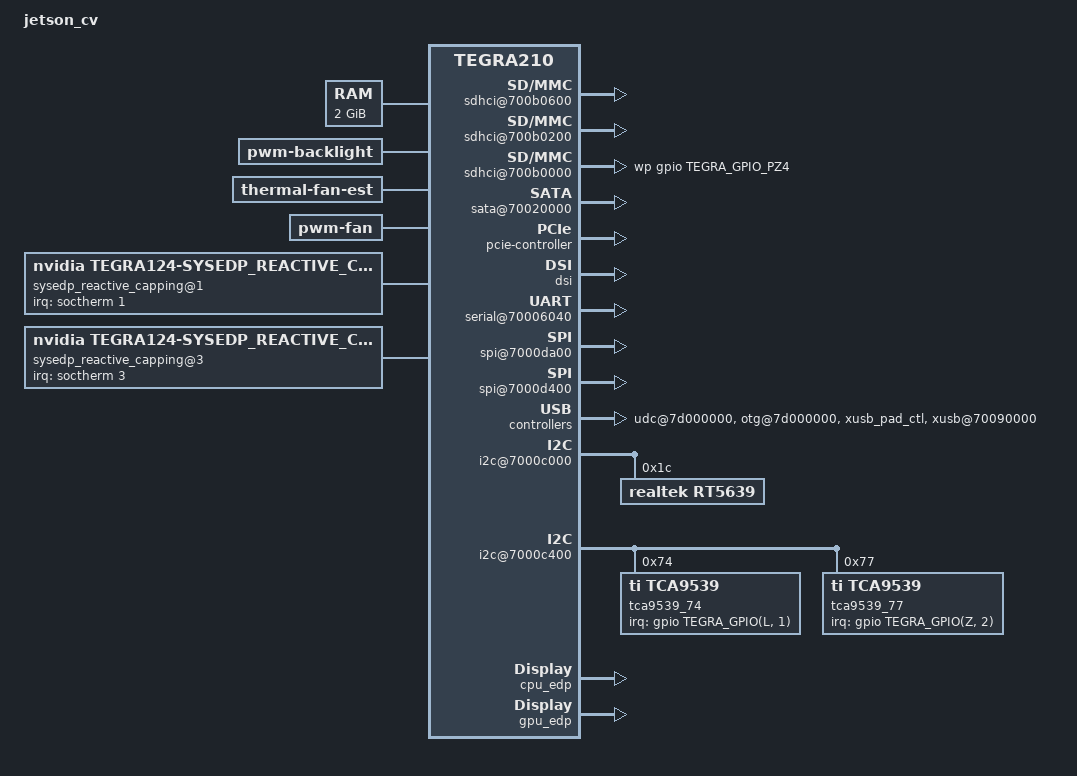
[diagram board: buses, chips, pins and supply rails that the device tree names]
/*
 * arch/arm64/boot/dts/tegra210-jetson-cv-base-p2597-2180-a00.dts
 *
 * Copyright (c) 2015, NVIDIA CORPORATION.  All rights reserved.
 *
 * This program is free software; you can redistribute it and/or modify
 * it under the terms of the GNU General Public License as published by
 * the Free Software Foundation; version 2 of the License.
 *
 * This program is distributed in the hope that it will be useful, but WITHOUT
 * ANY WARRANTY; without even the implied warranty of MERCHANTABILITY or
 * FITNESS FOR A PARTICULAR PURPOSE.  See the GNU General Public License for
 * more details.
 *
 */

/dts-v1/;

/memreserve/ 0x80000000 0x00020000;

#include "tegra210-common.dtsi"
#include "tegra210-platforms/tegra210-jetson-cv-power-tree-p2597-2180-a00.dtsi"
#include "tegra210-platforms/tegra210-jetson-cv-pinmux-p2597-2180-a00.dtsi"
#include "tegra210-platforms/tegra210-jetson-cv-sdmmc-drv-p2597-2180-a00.dtsi"
#include "tegra210-platforms/tegra210-comms-p2530-0930.dtsi"
#include "tegra210-platforms/tegra210-pwm-fan-p2530-0930.dtsi"
#include "panel-a-wuxga-8-0.dtsi"
#include "tegra210-platforms/tegra210-ers-hdmi-e2190-1100-a00.dtsi"
#include "tegra210-platforms/tegra210-sdhci.dtsi"
#include "tegra210-platforms/tegra210-p2530-common.dtsi"
#include "tegra210-platforms/tegra210-thermal-fan-est-p2530-0930.dtsi"
#include "tegra210-platforms/tegra210-jetson-cv-keys-p2597-2180-a00.dtsi"
#include <dt-bindings/iio/meter/ina3221x.h>
#include "tegra210-platforms/tegra210-foster-e-extcon-p2530-0930-e01.dtsi"
#include "tegra210-platforms/tegra210-jetson-cv-emc-p2180-1000-a00.dtsi"
#include "tegra210-platforms/tegra210-edp.dtsi"
#include "tegra210-platforms/tegra210-sysedp.dtsi"
#include "tegra210-platforms/tegra210-thermal-nct72-p2530.dtsi"
#include "tegra210-platforms/tegra210-thermal-Tboard-Tdiode.dtsi"
#include "tegra210-platforms/tegra210-jetson-cv-powermon-p2180-1000-a00.dtsi"


/ {
	model = "jetson_cv";
	compatible = "nvidia,jetson-cv", "nvidia,tegra210";
	nvidia,dtsfilename = __FILE__;

	nvidia,boardids = "2597:2180:A0";
	nvidia,proc-boardid = "2597:2180:A0";
	nvidia,pmu-boardid = "2597:2180:A0";
	#address-cells = <2>;
	#size-cells = <2>;

	chosen {
	};

	pmc@7000e400 {
		nvidia,invert-interrupt;
		platform-io-pad-voltage = <
				TEGRA210_PAD_AUDIO_HV IO_PAD_VOLTAGE_1_8V
				TEGRA210_PAD_SPI_HV IO_PAD_VOLTAGE_1_8V>;
	};

	memory@80000000 {
		device_type = "memory";
		reg = < 0x0 0x80000000 0x0 0x80000000 >;
	};

	sdhci@700b0600 { /* SDMMC4 for EMMC */
		uhs-mask = <0x0>;
		built-in;
		power-off-rail;
		status = "okay";
	};

	sdhci@700b0200 { /* SDMMC2 for Wifi */
		uhs-mask = <0x8>;
		power-off-rail;
		status = "okay";
	};

	sdhci@700b0000 { /* SDMMC1 for SD card */
		uhs-mask = <0xc>;
		power-off-rail;
		nvidia,update-pinctrl-settings;
		pinctrl-names = "sdmmc_schmitt_enable", "sdmmc_schmitt_disable", "sdmmc_clk_schmitt_enable", "sdmmc_clk_schmitt_disable", "sdmmc_drv_code", "sdmmc_default_drv_code";
		pinctrl-0 = <&sdmmc1_schmitt_enable_state>;
		pinctrl-1 = <&sdmmc1_schmitt_disable_state>;
		pinctrl-2 = <&sdmmc1_clk_schmitt_enable_state>;
		pinctrl-3 = <&sdmmc1_clk_schmitt_disable_state>;
		pinctrl-4 = <&sdmmc1_drv_code_1_8V>;
		pinctrl-5 = <&sdmmc1_default_drv_code_3_3V>;
		nvidia,sd-device;
		wp-gpios = <&gpio TEGRA_GPIO_PZ4 0>;
		status = "okay";
	};

	adma@702e2000  {
		interrupts = <0 24 0x04
			      0 25 0x04
			      0 26 0x04
			      0 27 0x04
			      0 28 0x04
			      0 29 0x04
			      0 30 0x04
			      0 31 0x04
			      0 32 0x04
			      0 33 0x04>;
		dma-channels = <10>;
		status = "okay";
	};

	sata@70020000 {
		compatible = "nvidia,tegra210-ahci-sata";
		nvidia,enable-sata-port;
		status = "okay";
	};

	backlight {
		compatible = "pwm-backlight";
		status = "okay";
		panel-s-wqxga-10-1-bl {
			pwms = <&tegra_pwm 0 1000000>;
		};
		panel-a-wuxga-8-0-bl {
			pwms = <&tegra_pwm 0 40161>;
		};
	};

	pcie-controller {
		nvidia,wake-gpio = <&gpio TEGRA_GPIO(A, 2) 0>;
		nvidia,lane-map = <0x14>;
		dvdd-pex-pll-supply = <&max77620_ldo1>;
		l0-dvddio-pex-supply = <&max77620_ldo1>;
		l1-dvddio-pex-supply = <&max77620_ldo1>;
		l2-dvddio-pex-supply = <&max77620_ldo1>;
		l3-dvddio-pex-supply = <&max77620_ldo1>;
		l4-dvddio-pex-supply = <&max77620_ldo1>;
		l5-dvddio-pex-supply = <&max77620_ldo1>;
		l6-dvddio-pex-supply = <&max77620_ldo1>;
		hvdd-pex-pll-e-supply = <&max77620_sd3>;
		l0-hvddio-pex-supply = <&max77620_sd3>;
		l1-hvddio-pex-supply = <&max77620_sd3>;
		l2-hvddio-pex-supply = <&max77620_sd3>;
		l3-hvddio-pex-supply = <&max77620_sd3>;
		l4-hvddio-pex-supply = <&max77620_sd3>;
		l5-hvddio-pex-supply = <&max77620_sd3>;
		l6-hvddio-pex-supply = <&max77620_sd3>;
		vddio-pex-ctl-supply = <&max77620_sd3>;
		status = "okay";

		pci@1,0 {
			status = "okay";
		};

		pci@2,0 {
			status = "okay";
		};
	};

	host1x {
		/* tegradc.0 */
		dc@54200000 {
			status = "okay";
			nvidia,dc-flags = <TEGRA_DC_FLAG_ENABLED>;
			nvidia,emc-clk-rate = <300000000>;
			nvidia,fb-bpp = <32>; /* bits per pixel */
			nvidia,fb-flags = <TEGRA_FB_FLIP_ON_PROBE>;
		};

		/* tegradc.1 */
		dc@54240000 {
			status = "okay";
			nvidia,dc-flags = <TEGRA_DC_FLAG_ENABLED>;
			nvidia,emc-clk-rate = <300000000>;
			nvidia,cmu-enable = <1>;
			nvidia,fb-bpp = <32>; /* bits per pixel */
			nvidia,fb-flags = <TEGRA_FB_FLIP_ON_PROBE>;
		};

		dsi {
			nvidia,dsi-controller-vs = <DSI_VS_1>;
			status = "okay";
			panel-a-wuxga-8-0 {
				status = "okay";
				nvidia,dsi-dpd-pads = <DSIC_DPD_EN DSID_DPD_EN>;
				nvidia,panel-rst-gpio = <&gpio TEGRA_GPIO(V, 2) 0>; /* PV2 */
				nvidia,panel-bl-pwm-gpio = <&gpio TEGRA_GPIO(V, 0) 0>; /* PV0 */
				disp-default-out {
					nvidia,out-flags = <TEGRA_DC_OUT_CONTINUOUS_MODE TEGRA_DC_OUT_INITIALIZED_MODE>;
				};
			};
		};
	};

	serial@70006040 {
		status = "okay";
	};

	spi@7000da00 {
		status = "ok";
	};

	spi@7000d400 {
		status = "okay";
	};

	extcon {
		extcon@0 {
			status = "disabled";
		};
	};

	udc@7d000000 {
		nvidia,port-otg;
		nvidia,charging-supported;
		#extcon-cells = <1>;
		status = "okay";
	};

	otg@7d000000 {
		#extcon-cells = <1>;
		status = "okay";
	};

	xusb_pad_ctl: padctl@0 { /* Put common control config here */
		nvidia,ss_portmap = <0x21>;
		nvidia,lane_owner = <0xff56>; /* Use 0xF to disable lane assign */
		status = "okay";
	};

	xusb@70090000 {
		/* nvidia,uses_external_pmic;
		/* nvidia,gpio_controls_muxed_ss_lanes; */
		nvidia,gpio_ss1_sata = <0>;
		nvidia,ulpicap = <0>; /* No ulpi support. can we remove */
		nvidia,portmap = <0x0e03>;
		nvidia,common_padctl = <&xusb_pad_ctl>;
		nvidia,boost_cpu_frequency = <1600>;
		status = "okay";
	};

	xudc@700d0000 {
		nvidia,common_padctl = <&xusb_pad_ctl>;
		nvidia,portmap = <0x0108>;
		#extcon-cells = <1>;
		status = "disabled";
	};

	xotg {
		#extcon-cells = <1>;
		nvidia,common_padctl = <&xusb_pad_ctl>;
		status = "disabled";
	};

	gpu-dvfs-rework {
		status = "ok";
	};

	thermal-fan-est {
		compatible = "thermal-fan-est";
		active_trip_temps = <0 51000 61000 71000 82000
				140000 150000 160000 170000 180000>;
		active_hysteresis = <0 15000 9000 9000 10000
				0 0 0 0 0>;
	};

	pwm-fan {
		compatible = "pwm-fan";
		shared_data = <&pwm_fan_shared_data>;
		active_pwm = <0 80 120 160 255 255 255 255 255 255>;
	};

	pwm_fan_shared_data: pfsd {
		tach_gpio =  <TEGRA_GPIO(K, 7)>; /* TEGRA_GPIO_PK7 */
	};

	i2c@7000c000 {
		rt5639: rt5639.0-001c@1c {
			compatible = "realtek,rt5639";
			reg = <0x1c>;
		};
	};

	i2c@7000c400 {
		nvidia,clock-always-on;

		tca9539_74: tca9539@74 {
			compatible = "ti,tca9539";
			gpio-controller;
			#gpio-cells = <2>;
			reg = <0x74>;
			interrupt-parent = <&gpio>;
			interrupts = <TEGRA_GPIO(L, 1) 0x0>;
			#interrupt-cells = <2>;
			interrupt-controller;
		};

		tca9539_77: tca9539@77 {
			compatible = "ti,tca9539";
			gpio-controller;
			#gpio-cells = <2>;
			reg = <0x77>;
			interrupt-parent = <&gpio>;
			interrupts = <TEGRA_GPIO(Z, 2) 0x0>;
			#interrupt-cells = <2>;
			interrupt-controller;
		};
	};

	i2c@546c0000 {
		bus-pullup-supply = <&max77620_sd3>;
		avdd_dsi_csi-supply = <&max77620_sd3>;
	};

	sysedp {
		compatible = "nvidia,tegra124-sysedp";
		nvidia,margin = <0>;
		nvidia,min_budget = <0>;
		nvidia,initial_budget = <40000>;
	};

	sysedp_reactive_capping@1 {
		compatible = "nvidia,tegra124-sysedp_reactive_capping";
		nvidia,max_capping_mw = <15000>;
		nvidia,step_alarm_mw = <1000>;
		nvidia,step_relax_mw = <500>;
		nvidia,relax_ms = <250>;
		interrupt-parent = <&soctherm>;
		interrupts = <1 0x2002>;
		sysedpc {
			nvidia,name = "voltmon_oc1";
		};
	};

	sysedp_reactive_capping@3 {
		compatible = "nvidia,tegra124-sysedp_reactive_capping";
		nvidia,max_capping_mw = <15000>;
		nvidia,step_alarm_mw = <1000>;
		nvidia,step_relax_mw = <500>;
		nvidia,relax_ms = <250>;
		interrupt-parent = <&soctherm>;
		interrupts = <3 0x2002>;
		sysedpc {
			nvidia,name = "batmon_oc3";
		};
	};

	sysedp-dynamic-capping {
		compatible = "nvidia,tegra124-sysedp-dynamic-capping";
		nvidia,throttle_depth = <75>;
		nvidia,cap_method = <1>;
	};

	bcmdhd_wlan {
		edp-consumer-name = "primary-wifi";
	};

	cpu_edp {
		status = "okay";
		nvidia,edp_limit = <25000>;
	};

	gpu_edp {
		status = "okay";
		nvidia,edp_limit = <25000>;
	};

	modem {
		/* using XHCI UTMI */
		nvidia,phy-type = <2>;
	};

	soctherm@0x700E2000 {
		throttle@oc1 {
			device_type = "throttlectl";
			oc-alarm-id = <1>;
			priority = <50>;
			mode = "brief";
			intr;
			active_low;
			count_threshold = <100>;
			filter = <5100000>;
			throttle_dev = <&{/soctherm@0x700E2000/throttle_dev@cpu_medium}
					&{/soctherm@0x700E2000/throttle_dev@gpu_medium}>;
		};
		throttle@oc3 {
			device_type = "throttlectl";
			oc-alarm-id = <3>;
			priority = <50>;
			mode = "brief";
			intr;
			active_low;
			count_threshold = <15>;
			filter = <5100000>;
			throttle_dev = <&{/soctherm@0x700E2000/throttle_dev@cpu_medium}
					&{/soctherm@0x700E2000/throttle_dev@gpu_medium}>;
		};
		throttle_dev@cpu_medium {
			dividend = <63>;
			divisor = <255>;
			duration = <0>;
			step = <0>;
		};
		throttle_dev@gpu_medium {
			level = "medium_throttling";
		};
	};

	thermal-zones {
		CPU-therm {
			thermal-zone-params {
				governor-name = "pid_thermal_gov";
				max_err_temp = <9000>;
				max_err_gain = <1000>;
				gain_p = <1000>;
				gain_d = <0>;
				up_compensation = <20>;
				down_compensation = <20>;
			};
			trips {
				cpu_critical {
					temperature = <102500>;
					hysteresis = <0>;
					type = "critical";
					writable;
				};
				cpu_heavy {
					temperature = <98500>;
					hysteresis = <0>;
					type = "hot";
					writable;
				};
				cpu_throttle {
					temperature = <89000>;
					hysteresis = <0>;
					type = "passive";
					writable;
				};
			};
			cooling-maps {
				map0 {
					trip = <&{/thermal-zones/CPU-therm/trips/cpu_critical}>;
					cdev-type = "tegra-shutdown";
					cooling-device = <&{/soctherm@0x700E2000/throttle@critical}
						THERMAL_NO_LIMIT THERMAL_NO_LIMIT>;
				};
				map1 {
					trip = <&{/thermal-zones/CPU-therm/trips/cpu_heavy}>;
					cdev-type = "tegra-heavy";
					cooling-device = <&{/soctherm@0x700E2000/throttle@heavy}
						THERMAL_NO_LIMIT THERMAL_NO_LIMIT>;
				};
				map2 {
					trip = <&{/thermal-zones/CPU-therm/trips/cpu_throttle}>;
					cdev-type = "cpu-balanced";
					cooling-device = <&{/bthrot_cdev/cpu_balanced}
						THERMAL_NO_LIMIT THERMAL_NO_LIMIT>;
				};
			};
		};
		GPU-therm {
			thermal-zone-params {
				governor-name = "pid_thermal_gov";
				max_err_temp = <9000>;
				max_err_gain = <1000>;
				gain_p = <1000>;
				gain_d = <0>;
				up_compensation = <20>;
				down_compensation = <20>;
			};
			trips {
				gpu_critical {
					temperature = <103000>;
					hysteresis = <0>;
					type = "critical";
					writable;
				};
				gpu_heavy {
					temperature = <100000>;
					hysteresis = <0>;
					type = "hot";
					writable;
				};
				gpu_throttle {
					temperature = <90500>;
					hysteresis = <0>;
					type = "passive";
					writable;
				};
			};
			cooling-maps {
				map0 {
					trip = <&{/thermal-zones/GPU-therm/trips/gpu_critical}>;
					cdev-type = "tegra-shutdown";
					cooling-device = <&{/soctherm@0x700E2000/throttle@critical}
						THERMAL_NO_LIMIT THERMAL_NO_LIMIT>;
				};
				map1 {
					trip = <&{/thermal-zones/GPU-therm/trips/gpu_heavy}>;
					cdev-type = "tegra-heavy";
					cooling-device = <&{/soctherm@0x700E2000/throttle@heavy}
						THERMAL_NO_LIMIT THERMAL_NO_LIMIT>;
				};
				map2 {
					trip = <&{/thermal-zones/GPU-therm/trips/gpu_throttle}>;
					cdev-type = "gpu-balanced";
					cooling-device = <&{/bthrot_cdev/gpu_balanced}
						THERMAL_NO_LIMIT THERMAL_NO_LIMIT>;
				};
			};
		};
		LCPU-therm {
			thermal-zone-params {
				governor-name = "pid_thermal_gov";
				max_err_temp = <9000>;
				max_err_gain = <1000>;
				gain_p = <1000>;
				gain_d = <0>;
				up_compensation = <20>;
				down_compensation = <20>;
			};
			trips {
				lcpu_critical {
					temperature = <103000>; /* must be same as GPU's critical temp */
					hysteresis = <0>;
					type = "critical";
					writable;
				};
				lcpu_heavy {
					temperature = <101500>;
					hysteresis = <0>;
					type = "hot";
					writable;
				};
				lcpu_throttle {
					temperature = <92000>;
					hysteresis = <0>;
					type = "passive";
					writable;
				};
			};
			cooling-maps {
				map0 {
					trip = <&{/thermal-zones/LCPU-therm/trips/lcpu_critical}>;
					cdev-type = "tegra-shutdown";
					cooling-device = <&{/soctherm@0x700E2000/throttle@critical}
						THERMAL_NO_LIMIT THERMAL_NO_LIMIT>;
				};
				map1 {
					trip = <&{/thermal-zones/LCPU-therm/trips/lcpu_heavy}>;
					cdev-type = "tegra-heavy";
					cooling-device = <&{/soctherm@0x700E2000/throttle@heavy}
						THERMAL_NO_LIMIT THERMAL_NO_LIMIT>;
				};
				map2 {
					trip = <&{/thermal-zones/LCPU-therm/trips/lcpu_throttle}>;
					cdev-type = "cpu-balanced";
					cooling-device = <&{/bthrot_cdev/cpu_balanced}
						THERMAL_NO_LIMIT THERMAL_NO_LIMIT>;
				};
			};
		};
		PLL-therm {
			thermal-zone-params {
				governor-name = "pid_thermal_gov";
				max_err_temp = <9000>;
				max_err_gain = <1000>;
				gain_p = <1000>;
				gain_d = <0>;
				up_compensation = <20>;
				down_compensation = <20>;
			};
		};

		Tboard_tegra {
			status = "okay";
		};
		Tdiode_tegra {
			status = "okay";
		};
	};

	bcmdhd_wlan {
		country_code_map {
			CC1 {
				iso_abbrev = "XV";
				custom_locale = "XV";
				custom_locale_rev = <997>;
			};
			CC2 {
				iso_abbrev = "US";
				custom_locale = "Q2";
				custom_locale_rev = <998>;
			};
			CC3 {
				iso_abbrev = "CA";
				custom_locale = "Q2";
				custom_locale_rev = <998>;
			};
			CC4 {
				iso_abbrev = "AT";
				custom_locale = "E0";
				custom_locale_rev = <994>;
			};
			CC5 {
				iso_abbrev = "BE";
				custom_locale = "E0";
				custom_locale_rev = <994>;
			};
			CC6 {
				iso_abbrev = "BG";
				custom_locale = "E0";
				custom_locale_rev = <994>;
			};
			CC7 {
				iso_abbrev = "HR";
				custom_locale = "E0";
				custom_locale_rev = <994>;
			};
			CC8 {
				iso_abbrev = "CZ";
				custom_locale = "E0";
				custom_locale_rev = <994>;
			};
			CC9 {
				iso_abbrev = "DK";
				custom_locale = "E0";
				custom_locale_rev = <994>;
			};
			CC10 {
				iso_abbrev = "FR";
				custom_locale = "E0";
				custom_locale_rev = <994>;
			};
			CC11 {
				iso_abbrev = "DE";
				custom_locale = "E0";
				custom_locale_rev = <994>;
			};
			CC12 {
				iso_abbrev = "GR";
				custom_locale = "E0";
				custom_locale_rev = <994>;
			};
			CC13 {
				iso_abbrev = "HU";
				custom_locale = "E0";
				custom_locale_rev = <994>;
			};
			CC14 {
				iso_abbrev = "IT";
				custom_locale = "E0";
				custom_locale_rev = <994>;
			};
			CC15 {
				iso_abbrev = "NL";
				custom_locale = "E0";
				custom_locale_rev = <994>;
			};
			CC16 {
				iso_abbrev = "NO";
				custom_locale = "E0";
				custom_locale_rev = <994>;
			};
			CC17 {
				iso_abbrev = "PL";
				custom_locale = "E0";
				custom_locale_rev = <994>;
			};
			CC18 {
				iso_abbrev = "PT";
				custom_locale = "E0";
				custom_locale_rev = <994>;
			};
			CC19 {
				iso_abbrev = "RO";
				custom_locale = "E0";
				custom_locale_rev = <994>;
			};
			CC20 {
				iso_abbrev = "SK";
				custom_locale = "E0";
				custom_locale_rev = <994>;
			};
			CC21 {
				iso_abbrev = "ES";
				custom_locale = "E0";
				custom_locale_rev = <994>;
			};
			CC22 {
				iso_abbrev = "SE";
				custom_locale = "E0";
				custom_locale_rev = <994>;
			};
			CC23 {
				iso_abbrev = "CH";
				custom_locale = "E0";
				custom_locale_rev = <994>;
			};
			CC24 {
				iso_abbrev = "GB";
				custom_locale = "E0";
				custom_locale_rev = <994>;
			};
			CC25 {
				iso_abbrev = "EU";
				custom_locale = "E0";
				custom_locale_rev = <994>;
			};
			CC26 {
				iso_abbrev = "E0";
				custom_locale = "E0";
				custom_locale_rev = <994>;
			};
			CC27 {
				iso_abbrev = "IN";
				custom_locale = "Q2";
				custom_locale_rev = <998>;
			};
		};
	};

	serial@70006300 {
		dma-names = "tx";
	};

	pmc@7000e400 {
		io-pad-defaults {
			gpio {
				nvidia,io-pad-init-voltage = <IO_PAD_VOLTAGE_1_8V>;
			};
		};
	};
};
